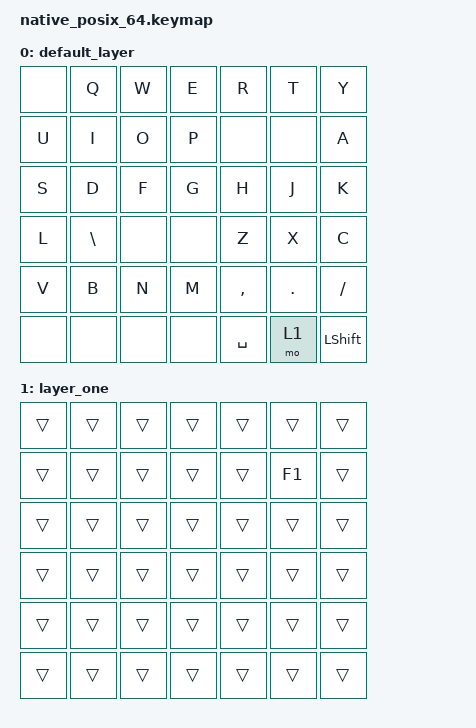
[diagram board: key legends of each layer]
#include <dt-bindings/zmk/keys.h>
#include <behaviors.dtsi>
#include <dt-bindings/zmk/kscan_mock.h>

/ {
    behaviors {
        lpar_fixed: lpar_fixed {
            compatible = "zmk,behavior-mod-morph";
            #binding-cells = <0>;
            bindings = <&kp LPAR>, <&kp LPAR>;
            mods = <(MOD_LSFT|MOD_RSFT)>;
        };
        rpar_fixed: rpar_fixed {
            compatible = "zmk,behavior-mod-morph";
            #binding-cells = <0>;
            bindings = <&kp RPAR>, <&kp RPAR>;
            mods = <(MOD_LSFT|MOD_RSFT)>;
        };
        lbkt_fixed: lbkt_fixed {
            compatible = "zmk,behavior-mod-morph";
            #binding-cells = <0>;
            bindings = <&kp LBKT>, <&kp LBKT>;
            mods = <(MOD_LSFT|MOD_RSFT)>;
        };
        rbkt_fixed: rbkt_fixed {
            compatible = "zmk,behavior-mod-morph";
            #binding-cells = <0>;
            bindings = <&kp RBKT>, <&kp RBKT>;
            mods = <(MOD_LSFT|MOD_RSFT)>;
        };
        lbrc_fixed: lbrc_fixed {
            compatible = "zmk,behavior-mod-morph";
            #binding-cells = <0>;
            bindings = <&kp LBRC>, <&kp LBRC>;
            mods = <(MOD_LSFT|MOD_RSFT)>;
        };
        rbrc_fixed: rbrc_fixed {
            compatible = "zmk,behavior-mod-morph";
            #binding-cells = <0>;
            bindings = <&kp RBRC>, <&kp RBRC>;
            mods = <(MOD_LSFT|MOD_RSFT)>;
        };
        minus_fixed: minus_fixed {
            compatible = "zmk,behavior-mod-morph";
            #binding-cells = <0>;
            bindings = <&kp MINUS>, <&kp MINUS>;
            mods = <(MOD_LSFT|MOD_RSFT)>;
        };
        equal_fixed: equal_fixed {
            compatible = "zmk,behavior-mod-morph";
            #binding-cells = <0>;
            bindings = <&kp EQUAL>, <&kp EQUAL>;
            mods = <(MOD_LSFT|MOD_RSFT)>;
        };
        under_fixed: under_fixed {
            compatible = "zmk,behavior-mod-morph";
            #binding-cells = <0>;
            bindings = <&kp UNDER>, <&kp UNDER>;
            mods = <(MOD_LSFT|MOD_RSFT)>;
        };
        plus_fixed: plus_fixed {
            compatible = "zmk,behavior-mod-morph";
            #binding-cells = <0>;
            bindings = <&kp PLUS>, <&kp PLUS>;
            mods = <(MOD_LSFT|MOD_RSFT)>;
        };
    };
    combos {
        compatible = "zmk,combos";
        combo_left_paren {
            timeout-ms = <25>;
            key-positions = <27 28>;
            bindings = <&lpar_fixed>;
        };
        combo_right_paren {
            timeout-ms = <25>;
            key-positions = <31 32>;
            bindings = <&rpar_fixed>;
        };
        combo_left_bracket {
            timeout-ms = <25>;
            key-positions = <15 16>;
            bindings = <&lbkt_fixed>;
        };
        combo_right_bracket {
            timeout-ms = <25>;
            key-positions = <19 20>;
            bindings = <&rbkt_fixed>;
        };
        combo_left_brace {
            timeout-ms = <25>;
            key-positions = <3 4>;
            bindings = <&lbrc_fixed>;
        };
        combo_right_brace {
            timeout-ms = <25>;
            key-positions = <7 8>;
            bindings = <&rbrc_fixed>;
        };
        combo_minus {
            timeout-ms = <25>;
            key-positions = <25 26>;
            bindings = <&minus_fixed>;
        };
        combo_equal {
            timeout-ms = <25>;
            key-positions = <33 34>;
            bindings = <&equal_fixed>;
        };
        combo_underscore {
            timeout-ms = <25>;
            key-positions = <13 14>;
            bindings = <&under_fixed>;
        };
        combo_plus {
            timeout-ms = <25>;
            key-positions = <21 22>;
            bindings = <&plus_fixed>;
        };
    };
    keymap {
        compatible = "zmk,keymap";
        default_layer {
            bindings = <
                &none &kp Q &kp W &kp E &kp R &kp T &kp Y
                &kp U &kp I &kp O &kp P &none &none &kp A
                &kp S &kp D &kp F &kp G &kp H &kp J &kp K
                &kp L &kp BSLH &none &none &kp Z &kp X &kp C
                &kp V &kp B &kp N &kp M &kp COMMA &kp DOT &kp FSLH
                &none &none &none &none &kp SPACE &mo 1 &kp LSHFT
            >;
        };
        layer_one {
            bindings = <
                &trans &trans &trans &trans &trans &trans &trans
                &trans &trans &trans &trans &trans &kp F1 &trans
                &trans &trans &trans &trans &trans &trans &trans
                &trans &trans &trans &trans &trans &trans &trans
                &trans &trans &trans &trans &trans &trans &trans
                &trans &trans &trans &trans &trans &trans &trans
            >;
        };
    };
};

&kscan {
    rows = <6>;
    columns = <7>;
    events = <
        ZMK_MOCK_PRESS(5,5,10) ZMK_MOCK_PRESS(1,5,10)
        ZMK_MOCK_RELEASE(1,5,10) ZMK_MOCK_RELEASE(5,5,10)

        // All symbol combos stay invariant with Shift held.
        ZMK_MOCK_PRESS(5,6,40) ZMK_MOCK_PRESS(3,6,10) ZMK_MOCK_PRESS(4,0,10)
        ZMK_MOCK_RELEASE(4,0,10) ZMK_MOCK_RELEASE(3,6,10) ZMK_MOCK_RELEASE(5,6,300)
        ZMK_MOCK_PRESS(5,6,40) ZMK_MOCK_PRESS(4,4,10) ZMK_MOCK_PRESS(4,3,10)
        ZMK_MOCK_RELEASE(4,3,10) ZMK_MOCK_RELEASE(4,4,10) ZMK_MOCK_RELEASE(5,6,300)

        ZMK_MOCK_PRESS(5,5,20) ZMK_MOCK_PRESS(5,6,40) ZMK_MOCK_PRESS(2,1,10)
        ZMK_MOCK_PRESS(2,2,10) ZMK_MOCK_RELEASE(2,2,10)
        ZMK_MOCK_RELEASE(2,1,10)
        ZMK_MOCK_PRESS(2,5,10)
        ZMK_MOCK_PRESS(2,6,10) ZMK_MOCK_RELEASE(2,6,10)
        ZMK_MOCK_RELEASE(2,5,10)

        ZMK_MOCK_RELEASE(5,6,10) ZMK_MOCK_RELEASE(5,5,10)
        ZMK_MOCK_PRESS(5,5,20) ZMK_MOCK_PRESS(5,6,20)
        ZMK_MOCK_PRESS(0,3,10)
        ZMK_MOCK_PRESS(0,4,10) ZMK_MOCK_RELEASE(0,4,10)
        ZMK_MOCK_RELEASE(0,3,10)
        ZMK_MOCK_PRESS(1,0,10)
        ZMK_MOCK_PRESS(1,1,10) ZMK_MOCK_RELEASE(1,1,10)
        ZMK_MOCK_RELEASE(1,0,10) ZMK_MOCK_RELEASE(5,6,10) ZMK_MOCK_RELEASE(5,5,300)

        ZMK_MOCK_PRESS(5,6,40) ZMK_MOCK_PRESS(1,6,10) ZMK_MOCK_PRESS(2,0,10)
        ZMK_MOCK_RELEASE(2,0,10) ZMK_MOCK_RELEASE(1,6,10) ZMK_MOCK_RELEASE(5,6,300)
        ZMK_MOCK_PRESS(5,6,40) ZMK_MOCK_PRESS(4,5,10) ZMK_MOCK_PRESS(4,6,10)
        ZMK_MOCK_RELEASE(4,6,10) ZMK_MOCK_RELEASE(4,5,10) ZMK_MOCK_RELEASE(5,6,300)
        ZMK_MOCK_PRESS(5,6,40) ZMK_MOCK_PRESS(3,4,10) ZMK_MOCK_PRESS(3,5,10)
        ZMK_MOCK_RELEASE(3,5,10) ZMK_MOCK_RELEASE(3,4,10) ZMK_MOCK_RELEASE(5,6,300)
        ZMK_MOCK_PRESS(5,6,40) ZMK_MOCK_PRESS(4,5,10) ZMK_MOCK_PRESS(4,6,10)
        ZMK_MOCK_RELEASE(4,6,10) ZMK_MOCK_RELEASE(4,5,10) ZMK_MOCK_RELEASE(5,6,300)
    >;
};
